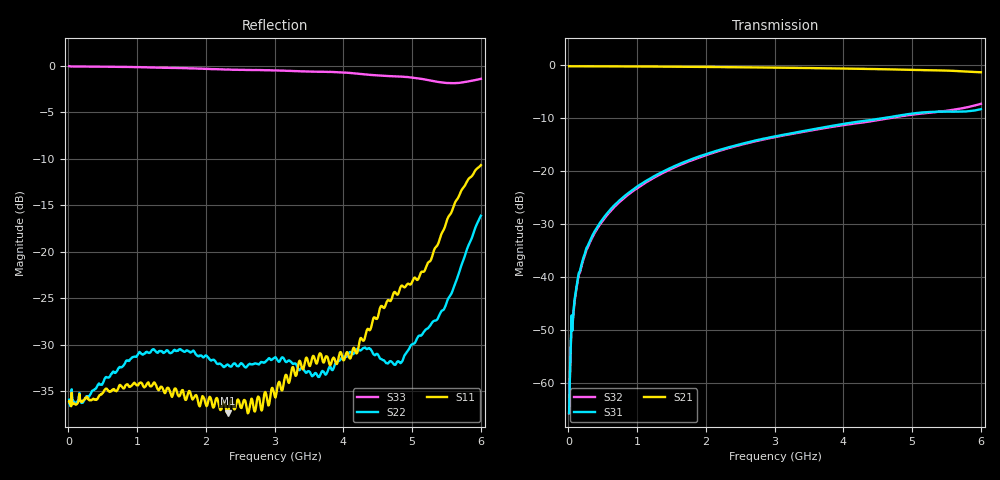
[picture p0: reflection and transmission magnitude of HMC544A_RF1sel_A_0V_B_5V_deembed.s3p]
! Device:	HMC544A
! Description:	GaAs MMIC SPDT Reflective Switch
! Package:	6-Lead Small Outline Transistor Package
! Frequency:	DC -  4 GHz
! Ports:
! RFC = Port 1
! RF1 = Port 2
! RF2 = Port 3
! State: RF1 Selected
! Control Voltages:
! A  = 0 V
! B  = 5 V
! Data:	Data was collected using a calibrated network analyzer with AFR software.
!	Fixtures were calculated using AFR and fixturing was applied to collect
!	this Deembedded  S Parameter data of HMC544A.
! Note:	Analog Devices supplies this data as a sample of measured data at the package pin
!	for this product.  Your particular data for this product may vary.
!	Data was taken at 25 degrees C.
!	Analog Devices reserves the right to change this data at anytime.
# Hz S  dB  R 50
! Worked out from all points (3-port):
!   801 points, 10 MHz to 6 GHz, reference 50 ohm
!   strongest paths, dB at 10 MHz, 1.508 GHz, 3.005 GHz, 4.503 GHz, 6 GHz:
!     S21: -0.2, -0.3, -0.5, -0.8, -1.4
!     S31: -65.8, -19.3, -13.5, -10.2, -8.4
!     S32: -65.8, -19.6, -13.6, -10.4, -7.3
!   lowest |S11| = -37.4 dB at 2.316 GHz (marker M1), VSWR 1.03, Z = 49.7 + j1.31 ohm
!   |S11| at or under -10 dB: start of sweep to end of sweep
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1e7  -36.10 -1.6  -0.24 -0.3  -66.64 105.5
     -0.24 -0.2  -35.93 -2.7  -66.55 69.8
     -65.76 86.4  -65.82 85.4  -0.03 -0.4
6.24125e7  -36.41 2.5  -0.24 -0.9  -48.42 95.6
           -0.24 -0.9  -35.94 2.2  -48.78 94.8
           -48.42 95.3  -48.71 94.2  -0.06 -1.4
1.298e8  -36.33 9.8  -0.25 -1.8  -40.81 93.1
         -0.24 -1.8  -36.11 10.1  -41.16 92.0
         -40.80 93.0  -41.16 92.2  -0.07 -2.7
4.44275e8  -35.54 26.7  -0.25 -6.3  -30.09 85.6
           -0.25 -6.3  -34.18 23.0  -30.42 82.0
           -30.10 85.6  -30.42 81.9  -0.08 -9.3
1.125638e9  -34.46 55.4  -0.29 -15.8  -21.93 75.2
            -0.29 -15.8  -30.82 24.6  -22.20 66.2
            -21.93 75.2  -22.20 66.2  -0.15 -24.4
2.31615e9  -37.39 103.3  -0.40 -32.5  -15.59 56.5
           -0.40 -32.5  -32.13 -9.0  -15.76 37.6
           -15.59 56.5  -15.75 37.6  -0.38 -54.3
3.005e9  -35.60 137.9  -0.50 -42.3  -13.49 45.9
         -0.50 -42.3  -31.38 -27.1  -13.63 21.6
         -13.50 45.9  -13.62 21.6  -0.48 -71.3
4.195512e9  -30.93 165.2  -0.71 -59.8  -10.76 28.2
            -0.71 -59.8  -30.49 8.7  -11.02 -4.9
            -10.75 28.2  -11.01 -4.9  -0.82 -96.3
4.839438e9  -23.70 178.9  -0.88 -69.6  -9.49 16.7
            -0.87 -69.6  -31.94 19.8  -9.69 -19.9
            -9.49 16.7  -9.68 -19.9  -1.15 -110.9
6e9  -10.68 -166.8  -1.37 -88.1  -8.36 -17.4
     -1.37 -88.1  -16.12 -149.6  -7.35 -55.3
     -8.36 -17.3  -7.34 -55.3  -1.39 -143.2
